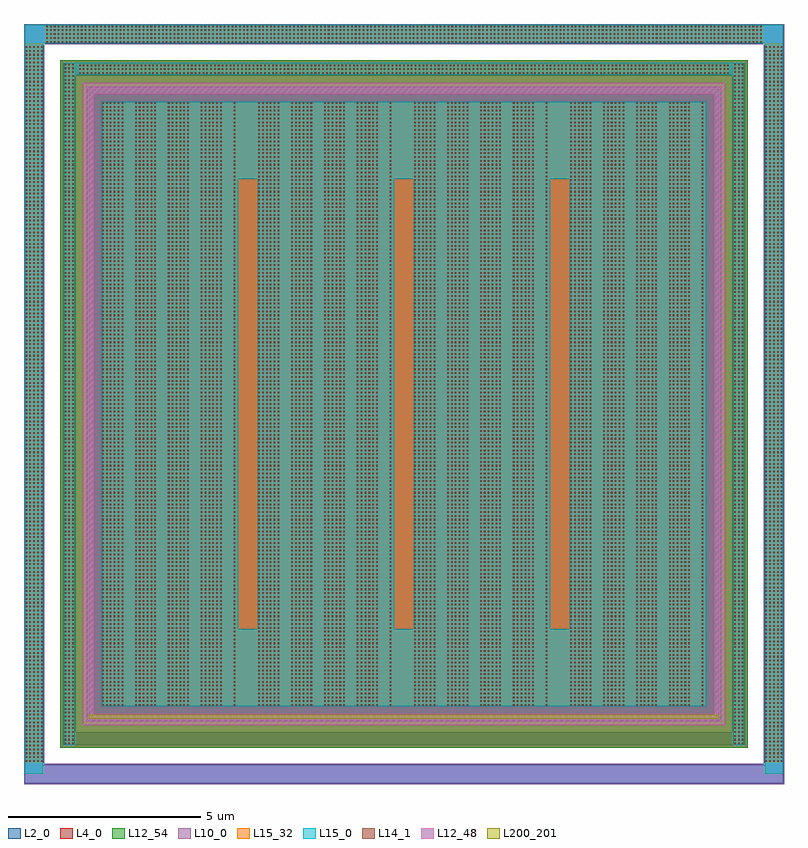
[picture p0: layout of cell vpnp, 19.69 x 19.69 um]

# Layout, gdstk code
import gdstk
lib = gdstk.Library(unit=1e-6, precision=1e-09)
def R(c, l, rs):  # rectangles x0, y0, x1, y1
    for r in rs: c.add(gdstk.rectangle(r[:2], r[2:], *l))
def A(c, l, x, y, w, h, nx, ny, dx, dy):  # array of equal rectangles
    R(c, l, [(x+i*dx, y+j*dy, x+i*dx+w, y+j*dy+h) for i in range(nx) for j in range(ny)])
L2_0 = (2, 0)
L4_0 = (4, 0)
L10_0 = (10, 0)
L12_48 = (12, 48)
L12_54 = (12, 54)
L14_1 = (14, 1)
L15_0 = (15, 0)
L15_32 = (15, 32)
L200_201 = (200, 201)

vpnp = lib.new_cell('vpnp')
R(vpnp, L2_0, [(-16.329,-8.359,3.323,-7.879), (-16.329,-7.879,-15.849,10.813), (2.843,-7.879,3.323,10.813), (-15.349,-7.379,2.343,-7.039), (-15.349,-7.039,-15.009,9.973), (2.003,-7.039,2.343,9.973), (-14.653,-6.683,1.647,9.617), (-15.349,9.973,2.343,10.313), (-16.329,10.813,3.323,11.293)])
R(vpnp, L4_0, [(-15.405,-7.435,2.399,10.369)])
R(vpnp, L10_0, [(-16.35,-8.38,3.344,-7.858), (-16.35,-7.858,-15.828,10.792), (2.822,-7.858,3.344,10.792), (-14.723,-6.753,1.717,9.687), (-16.35,10.792,3.344,11.314)])
R(vpnp, L12_48, [(-14.834,-6.864,1.828,-6.558), (-14.834,-6.558,-14.528,9.492), (1.522,-6.558,1.828,9.492), (-14.834,9.492,1.828,9.798)])
R(vpnp, L12_54, [(-15.405,-7.435,2.399,10.369)])
A(vpnp, L14_1, -16.309, -7.803, 0.04, 0.04, 5, 186, 0.1, 0.1)
A(vpnp, L14_1, 2.863, -7.803, 0.04, 0.04, 5, 186, 0.1, 0.1)
A(vpnp, L14_1, -15.299, -7.353, 0.04, 0.04, 3, 177, 0.1, 0.1)
A(vpnp, L14_1, 2.053, -7.353, 0.04, 0.04, 3, 177, 0.1, 0.1)
A(vpnp, L14_1, -14.323, -6.353, 0.04, 0.04, 6, 157, 0.1, 0.1)
A(vpnp, L14_1, -13.471, -6.353, 0.04, 0.04, 6, 157, 0.1, 0.1)
A(vpnp, L14_1, -12.619, -6.353, 0.04, 0.04, 6, 157, 0.1, 0.1)
A(vpnp, L14_1, -11.767, -6.353, 0.04, 0.04, 6, 157, 0.1, 0.1)
A(vpnp, L14_1, -10.915, -6.353, 0.04, 0.04, 1, 157, 0, 0.1)
A(vpnp, L14_1, -10.279, -6.353, 0.04, 0.04, 6, 157, 0.1, 0.1)
A(vpnp, L14_1, -9.427, -6.353, 0.04, 0.04, 6, 157, 0.1, 0.1)
A(vpnp, L14_1, -8.575, -6.353, 0.04, 0.04, 6, 157, 0.1, 0.1)
A(vpnp, L14_1, -7.723, -6.353, 0.04, 0.04, 6, 157, 0.1, 0.1)
A(vpnp, L14_1, -6.871, -6.353, 0.04, 0.04, 1, 157, 0, 0.1)
A(vpnp, L14_1, -6.235, -6.353, 0.04, 0.04, 6, 157, 0.1, 0.1)
A(vpnp, L14_1, -5.383, -6.353, 0.04, 0.04, 6, 157, 0.1, 0.1)
A(vpnp, L14_1, -4.531, -6.353, 0.04, 0.04, 6, 157, 0.1, 0.1)
A(vpnp, L14_1, -3.679, -6.353, 0.04, 0.04, 6, 157, 0.1, 0.1)
A(vpnp, L14_1, -2.827, -6.353, 0.04, 0.04, 1, 157, 0, 0.1)
A(vpnp, L14_1, -2.191, -6.353, 0.04, 0.04, 6, 157, 0.1, 0.1)
A(vpnp, L14_1, -1.339, -6.353, 0.04, 0.04, 6, 157, 0.1, 0.1)
A(vpnp, L14_1, -0.487, -6.353, 0.04, 0.04, 6, 157, 0.1, 0.1)
A(vpnp, L14_1, 0.365, -6.353, 0.04, 0.04, 6, 157, 0.1, 0.1)
A(vpnp, L14_1, 1.217, -6.353, 0.04, 0.04, 1, 157, 0, 0.1)
A(vpnp, L14_1, -14.923, 10.023, 0.04, 0.04, 169, 3, 0.1, 0.1)
A(vpnp, L14_1, -15.773, 10.833, 0.04, 0.04, 186, 5, 0.1, 0.1)
A(vpnp, L15_0, -14.341, -4.371, 3.544, 11.676, 4, 1, 4.044, 0)
R(vpnp, L15_0, [(-16.327,-8.119,-15.851,11.291), (2.845,-8.119,3.321,11.291), (-15.317,-7.371,-15.041,10.305), (2.035,-7.371,2.311,10.305), (-14.341,-6.371,1.335,-4.371), (-14.341,7.305,1.335,9.305), (-15.041,10.005,2.035,10.305), (-15.851,10.815,2.845,11.291)])
R(vpnp, L15_32, [(-16.327,-7.821,-15.851,10.815), (2.845,-7.821,3.321,10.815), (-15.317,-7.371,-15.041,10.305), (2.035,-7.371,2.311,10.305), (-14.341,-6.371,1.335,9.305), (-14.941,10.005,1.935,10.281), (-15.791,10.815,2.785,11.291)])
R(vpnp, L200_201, [(-14.653,-6.683,1.647,-6.583)])

lib.write_gds('vpnp.gds')
